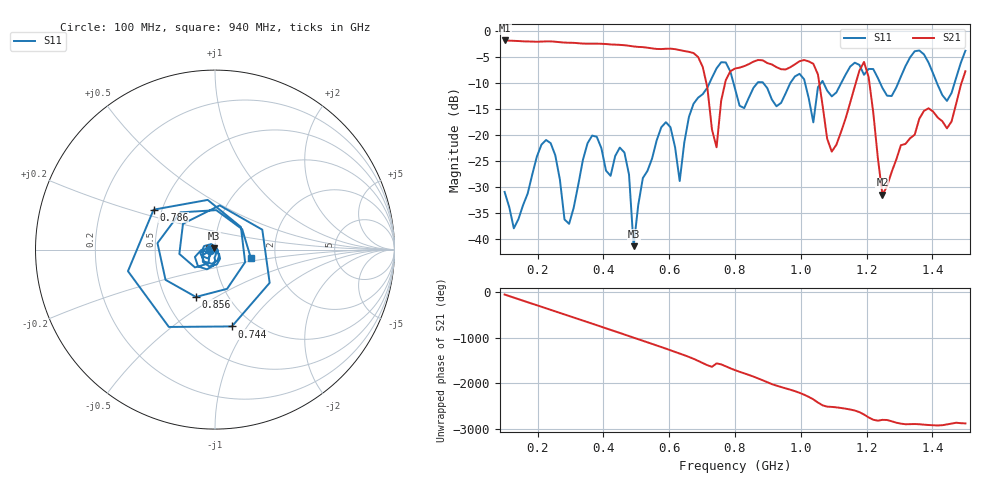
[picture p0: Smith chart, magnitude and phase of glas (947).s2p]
! NanoVNA-App
! Date: 2025-09-25 16:02:50
! Start: 100MHz Stop: 1,5GHz Points: 101
! S-Parameter data: F S11 S21 S12 S22
# Hz S RI R 50
!  Frequency  S11_Real  S11_Imag  S21_Real  S21_Imag  S12_Real  S12_Imag  S22_Real  S22_Imag
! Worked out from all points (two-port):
!   101 points, 100 MHz to 1.5 GHz, reference 50 ohm
!   highest |S21| = -1.80 dB at 100 MHz (marker M1); lowest = -31.5 dB at 1.248 GHz (marker M2)
!   |S21| within 3 dB of the highest: start of sweep to 684.5 MHz
!   lowest |S11| = -41.3 dB at 492 MHz (marker M3), VSWR 1.02, Z = 49.4 + j0.645 ohm
!   |S11| at or under -10 dB: start of sweep to 722.4 MHz; 795.5 MHz to 867.6 MHz (72.18 MHz wide, 8.68 % of centre); 886.1 MHz to 967.9 MHz (81.76 MHz wide, 8.82 % of centre) (the widest 3 of 7)
!   S12 and S22 are empty: the file has one direction only
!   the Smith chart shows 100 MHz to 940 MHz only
!   S11 on the Smith chart (normalised r, x): 100 MHz: 0.94, -0.01; 744 MHz: 0.80, -0.85; 786 MHz: 0.45, +0.24; 856 MHz: 0.71, -0.41; 940 MHz: 1.49, -0.14
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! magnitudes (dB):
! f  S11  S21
! 100 MHz  -30.9  -1.8
! 128 MHz  -37.9  -1.9
! 226 MHz  -20.9  -2.0
! 296 MHz  -37.0  -2.2
! 338 MHz  -24.7  -2.4
! 464 MHz  -23.3  -2.7
! 492 MHz  -41.3  -3.0
! 576 MHz  -18.5  -3.5
! 632 MHz  -28.8  -3.7
! 702 MHz  -12.1  -6.9
! 744 MHz  -7.2  -22.3
! 786 MHz  -7.8  -7.7
! 800 MHz  -11.1  -7.2
! 856 MHz  -10.9  -5.9
! 940 MHz  -13.8  -7.3
! 996 MHz  -8.2  -5.8
! 1.038 GHz  -17.5  -6.3
! 1.094 GHz  -12.6  -23.2
! 1.192 GHz  -8.4  -5.9
! 1.248 GHz  -10.9  -31.5
! 1.276 GHz  -12.5  -27.1
! 1.5 GHz  -3.8  -7.7
